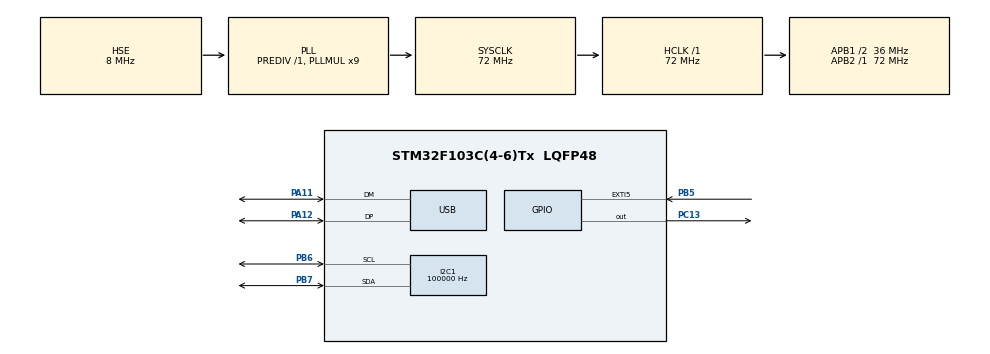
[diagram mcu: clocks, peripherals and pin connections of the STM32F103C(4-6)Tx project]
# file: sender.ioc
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I2C1.ClockSpeed=100000
Mcu.Family=STM32F1
Mcu.Name=STM32F103C(4-6)Tx
Mcu.Package=LQFP48
NVIC.EXTI9_5_IRQn=true\:0\:0\:false\:false\:true\:true\:true\:true
NVIC.PriorityGroup=NVIC_PRIORITYGROUP_4
NVIC.USB_LP_CAN1_RX0_IRQn=true\:0\:0\:false\:false\:true\:false\:true\:true
PA11.Mode=Device
PA11.Signal=USB_DM
PA12.Mode=Device
PA12.Signal=USB_DP
PA13.Mode=Serial_Wire
PA13.Signal=SYS_JTMS-SWDIO
PA14.Mode=Serial_Wire
PA14.Signal=SYS_JTCK-SWCLK
PB5.GPIO_ModeDefaultEXTI=GPIO_MODE_IT_FALLING
PB5.GPIO_PuPd=GPIO_PULLUP
PB5.Signal=GPXTI5
PB6.Mode=I2C
PB6.Signal=I2C1_SCL
PB7.Mode=I2C
PB7.Signal=I2C1_SDA
PC13-TAMPER-RTC.Signal=GPIO_Output
PD0-OSC_IN.Mode=HSE-External-Oscillator
PD0-OSC_IN.Signal=RCC_OSC_IN
PD1-OSC_OUT.Mode=HSE-External-Oscillator
PD1-OSC_OUT.Signal=RCC_OSC_OUT
ProjectManager.HeapSize=0x200
ProjectManager.StackSize=0x400
ProjectManager.TargetToolchain=STM32CubeIDE
RCC.AHBFreq_Value=72000000
RCC.APB1CLKDivider=RCC_HCLK_DIV2
RCC.APB1Freq_Value=36000000
RCC.APB1TimFreq_Value=72000000
RCC.APB2Freq_Value=72000000
RCC.APB2TimFreq_Value=72000000
RCC.HCLKFreq_Value=72000000
RCC.PLLMUL=RCC_PLL_MUL9
RCC.PLLSourceVirtual=RCC_PLLSOURCE_HSE
RCC.SYSCLKFreq_VALUE=72000000
RCC.SYSCLKSource=RCC_SYSCLKSOURCE_PLLCLK
RCC.USBFreq_Value=48000000
RCC.USBPrescaler=RCC_USBCLKSOURCE_PLL_DIV1_5
USB_DEVICE.CLASS_NAME_FS=CDC
USB_DEVICE.VirtualMode=Cdc
USB_DEVICE.VirtualModeFS=Cdc_FS
VP_USB_DEVICE_VS_USB_DEVICE_CDC_FS.Mode=CDC_FS
board=custom

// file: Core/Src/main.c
/* USER CODE BEGIN Header */
/**
  ******************************************************************************
  * @file           : main.c
  * @brief          : Main program body
  ******************************************************************************
  * @attention
  *
  * Copyright (c) 2025 STMicroelectronics.
  * All rights reserved.
  *
  * This software is licensed under terms that can be found in the LICENSE file
  * in the root directory of this software component.
  * If no LICENSE file comes with this software, it is provided AS-IS.
  *
  ******************************************************************************
  */
/* USER CODE END Header */
#include "main.h"
#include "usb_device.h"

/* USER CODE BEGIN Includes */
#include "usbd_cdc_if.h"
#include <stdbool.h>
#include <stdint.h>

/* USER CODE END Includes */

/* USER CODE BEGIN PD */
/* ----- MPR121 definitions ----- */
#define MPR121_ADDR_7B							0x5A
#define MPR121_ADDR 								(MPR121_ADDR_7B << 1)

#define MPR121_REG_TOUCH_STATUS_L 	0x00
#define MPR121_REG_ECR 							0x5E
#define MPR121_REG_DEBOUNCE					0x5B
#define MPR121_REG_ELE0_T						0x41 // ELE0_R=0x42, ELE1_T=0x43, ...

#define MPR121_TOUCH_THR_DEFAULT 		0x07 // TODO: fine-tune
#define MPR121_RELEASE_THR_DEFAULT 	0x06 // TODO: fine-tune
#define MPR121_DEBOUNCE							0x00 // TODO: fine-tune
#define MPR121_RUN_MODE							0x8C // TODO: fine-tune

// Packet length
#define TOUCH_PKT_LEN								2

// Sensor ID mask
volatile uint8_t g_mpr_irq_pending = 0;

/* USER CODE END PD */

/* USER CODE BEGIN PM */

#ifndef DEVICE_ID
#define DEVICE_ID 7
#endif

// Accommodate for 9 devices total
#if (DEVICE_ID < 0) || (DEVICE_ID > 7)
#error "DEVICE_ID must be in range [0, 7]"
#endif

// Channel split: 0-3 on CH 70, 4... on CH 85
#define RF_CH0 				70
#define RF_CH1 				85
#define RF_CH_VAL 		((DEVICE_ID) < 4 ? (RF_CH0) : (RF_CH1))

// Set pipe index 0-4
#define PIPE_INDEX 		((DEVICE_ID) < 4 ? (DEVICE_ID) : (DEVICE_ID) - 4)

// Set LSB of pipe address
#define ADDR_BASE 		((DEVICE_ID) < 4 ? (0xA0) : (0xB0))
#define ADDR_LAST 		(ADDR_BASE + PIPE_INDEX)

// Set device 5-byte address
#define ADDR_B0 0xE7
#define ADDR_B1 0xE7
#define ADDR_B2 0xE7
#define ADDR_B3 0xE7
#define ADDR_B4 ADDR_LAST

static const uint8_t NRF_ADDR[5] = {ADDR_B0, ADDR_B1, ADDR_B2, ADDR_B3, ADDR_B4};

/* USER CODE END PM */

I2C_HandleTypeDef hi2c1;

/* USER CODE BEGIN PV */
extern USBD_HandleTypeDef hUsbDeviceFS;
int packets = 0;

/* USER CODE END PV */

void SystemClock_Config(void);
static void MX_GPIO_Init(void);
static void MX_I2C1_Init(void);
/* USER CODE BEGIN PFP */

/* ----- MPR121 prototypes ----- */
static HAL_StatusTypeDef MPR121_Write8(uint8_t reg, uint8_t val);
static HAL_StatusTypeDef MPR121_ReadN(uint8_t reg, uint8_t *buf, uint16_t n);
static uint16_t MPR121_ReadTouchedMask(void);
static bool MPR121_Init(void);
static void SendTouchChanges(uint16_t new_mask);

/* USER CODE END PFP */

/* USER CODE BEGIN 0 */

static void usb_wait_configured(void) {
	while (hUsbDeviceFS.dev_state != USBD_STATE_CONFIGURED) {
		// Rapid LED Flashing - USB connecting state
		HAL_GPIO_TogglePin(GPIOC, GPIO_PIN_13);
		HAL_Delay(100);
	}
}

/* ----- MPR121 functions ----- */

// Write a value to a register on the MPR121 board
static HAL_StatusTypeDef MPR121_Write8(uint8_t reg, uint8_t val) {
	return HAL_I2C_Mem_Write(&hi2c1, MPR121_ADDR, reg, I2C_MEMADD_SIZE_8BIT, &val, 1, 50);
}

// Read a register on MPR121 board
static HAL_StatusTypeDef MPR121_ReadN(uint8_t reg, uint8_t *buf, uint16_t n) {
	return HAL_I2C_Mem_Read(&hi2c1, MPR121_ADDR, reg, I2C_MEMADD_SIZE_8BIT, buf, n, 50);
}

// Read 0x00-0x01: also clears MPR121 IRQ line
static uint16_t MPR121_ReadTouchedMask(void) {
	uint8_t s[2] = {0};
	if (MPR121_ReadN(MPR121_REG_TOUCH_STATUS_L, s, 2) != HAL_OK) {return 0;}
	return (uint16_t) s[0] | ((uint16_t) s[1] << 8);
}

// Configure thresholds and start sensing
static bool MPR121_Init(void) {
	// Stop mode while configuring
	if (MPR121_Write8(MPR121_REG_ECR, 0x00) != HAL_OK) {return false;}

	// Touch configurations for ELE0 through ELE11
	for (uint8_t ele = 0; ele < 12; ele++) {
		uint8_t treg = MPR121_REG_ELE0_T + ele * 2;

		// Set activation/release threshold
		if (MPR121_Write8(treg, MPR121_TOUCH_THR_DEFAULT) != HAL_OK) {return false;}
		if (MPR121_Write8(treg + 1, MPR121_RELEASE_THR_DEFAULT) != HAL_OK) {return false;}
	}
	// Set debounce, run mode
	if (MPR121_Write8(MPR121_REG_DEBOUNCE, MPR121_DEBOUNCE) != HAL_OK) {return false;}
	if (MPR121_Write8(MPR121_REG_ECR, MPR121_RUN_MODE) != HAL_OK) {return false;}

	return true;
}

static void SendTouchChanges(uint16_t new_mask) {
	// Transmit interrupt event
	uint8_t packet[TOUCH_PKT_LEN]; // {device_id, mask}
	packet[0] = DEVICE_ID;
	packet[1] = new_mask & 0xFF;
	CDC_Transmit_FS(packet, TOUCH_PKT_LEN);
}

/* USER CODE END 0 */

int main(void)
{

  /* MCU Configuration--------------------------------------------------------*/

  /* Reset of all peripherals, Initializes the Flash interface and the Systick. */
  HAL_Init();

  /* Configure the system clock */
  SystemClock_Config();

  /* Initialize all configured peripherals */
  MX_GPIO_Init();
  MX_I2C1_Init();
  MX_USB_DEVICE_Init();
  /* USER CODE BEGIN 2 */

  usb_wait_configured();
  HAL_GPIO_WritePin(GPIOC, GPIO_PIN_13, GPIO_PIN_SET);

  // Initialize MPR121
  if (!MPR121_Init()) {
  	// Rapid blink on MPR121 init failure
  	while (1) {
  		HAL_GPIO_TogglePin(GPIOC, GPIO_PIN_13);
  		HAL_Delay(100);
  	}
  }

  // Turn LED off
  HAL_GPIO_WritePin(GPIOC, GPIO_PIN_13, GPIO_PIN_SET);

  /* USER CODE END 2 */

  /* Infinite loop */
  while (1)
  {

    /* USER CODE BEGIN 3 */
  	if (g_mpr_irq_pending) {
  		g_mpr_irq_pending = 0;
  		uint16_t mask = MPR121_ReadTouchedMask();

  		// Light the LED while any electrode is touched
  		HAL_GPIO_WritePin(GPIOC, GPIO_PIN_13, (mask ? GPIO_PIN_RESET: GPIO_PIN_SET));
  		SendTouchChanges(mask);
  	}

  }
  /* USER CODE END 3 */
}

void SystemClock_Config(void)
{
  RCC_OscInitTypeDef RCC_OscInitStruct = {0};
  RCC_ClkInitTypeDef RCC_ClkInitStruct = {0};
  RCC_PeriphCLKInitTypeDef PeriphClkInit = {0};

  /** Initializes the RCC Oscillators according to the specified parameters
  * in the RCC_OscInitTypeDef structure.
  */
  RCC_OscInitStruct.OscillatorType = RCC_OSCILLATORTYPE_HSE;
  RCC_OscInitStruct.HSEState = RCC_HSE_ON;
  RCC_OscInitStruct.HSEPredivValue = RCC_HSE_PREDIV_DIV1;
  RCC_OscInitStruct.HSIState = RCC_HSI_ON;
  RCC_OscInitStruct.PLL.PLLState = RCC_PLL_ON;
  RCC_OscInitStruct.PLL.PLLSource = RCC_PLLSOURCE_HSE;
  RCC_OscInitStruct.PLL.PLLMUL = RCC_PLL_MUL9;
  if (HAL_RCC_OscConfig(&RCC_OscInitStruct) != HAL_OK)
  {
    Error_Handler();
  }

  /** Initializes the CPU, AHB and APB buses clocks
  */
  RCC_ClkInitStruct.ClockType = RCC_CLOCKTYPE_HCLK|RCC_CLOCKTYPE_SYSCLK
                              |RCC_CLOCKTYPE_PCLK1|RCC_CLOCKTYPE_PCLK2;
  RCC_ClkInitStruct.SYSCLKSource = RCC_SYSCLKSOURCE_PLLCLK;
  RCC_ClkInitStruct.AHBCLKDivider = RCC_SYSCLK_DIV1;
  RCC_ClkInitStruct.APB1CLKDivider = RCC_HCLK_DIV2;
  RCC_ClkInitStruct.APB2CLKDivider = RCC_HCLK_DIV1;

  if (HAL_RCC_ClockConfig(&RCC_ClkInitStruct, FLASH_LATENCY_2) != HAL_OK)
  {
    Error_Handler();
  }
  PeriphClkInit.PeriphClockSelection = RCC_PERIPHCLK_USB;
  PeriphClkInit.UsbClockSelection = RCC_USBCLKSOURCE_PLL_DIV1_5;
  if (HAL_RCCEx_PeriphCLKConfig(&PeriphClkInit) != HAL_OK)
  {
    Error_Handler();
  }
}

static void MX_I2C1_Init(void)
{

  hi2c1.Instance = I2C1;
  hi2c1.Init.ClockSpeed = 100000;
  hi2c1.Init.DutyCycle = I2C_DUTYCYCLE_2;
  hi2c1.Init.OwnAddress1 = 0;
  hi2c1.Init.AddressingMode = I2C_ADDRESSINGMODE_7BIT;
  hi2c1.Init.DualAddressMode = I2C_DUALADDRESS_DISABLE;
  hi2c1.Init.OwnAddress2 = 0;
  hi2c1.Init.GeneralCallMode = I2C_GENERALCALL_DISABLE;
  hi2c1.Init.NoStretchMode = I2C_NOSTRETCH_DISABLE;
  if (HAL_I2C_Init(&hi2c1) != HAL_OK)
  {
    Error_Handler();
  }

}

static void MX_GPIO_Init(void)
{
  GPIO_InitTypeDef GPIO_InitStruct = {0};

  /* GPIO Ports Clock Enable */
  __HAL_RCC_GPIOC_CLK_ENABLE();
  __HAL_RCC_GPIOD_CLK_ENABLE();
  __HAL_RCC_GPIOA_CLK_ENABLE();
  __HAL_RCC_GPIOB_CLK_ENABLE();

  /*Configure GPIO pin Output Level */
  HAL_GPIO_WritePin(GPIOC, GPIO_PIN_13, GPIO_PIN_RESET);

  /*Configure GPIO pin : PC13 */
  GPIO_InitStruct.Pin = GPIO_PIN_13;
  GPIO_InitStruct.Mode = GPIO_MODE_OUTPUT_PP;
  GPIO_InitStruct.Pull = GPIO_NOPULL;
  GPIO_InitStruct.Speed = GPIO_SPEED_FREQ_LOW;
  HAL_GPIO_Init(GPIOC, &GPIO_InitStruct);

  /*Configure GPIO pin : PB5 */
  GPIO_InitStruct.Pin = GPIO_PIN_5;
  GPIO_InitStruct.Mode = GPIO_MODE_IT_FALLING;
  GPIO_InitStruct.Pull = GPIO_PULLUP;
  HAL_GPIO_Init(GPIOB, &GPIO_InitStruct);

  /* EXTI interrupt init*/
  HAL_NVIC_SetPriority(EXTI9_5_IRQn, 0, 0);
  HAL_NVIC_EnableIRQ(EXTI9_5_IRQn);

}

void Error_Handler(void)
{
  __disable_irq();
  while (1)
  {
  }
}
